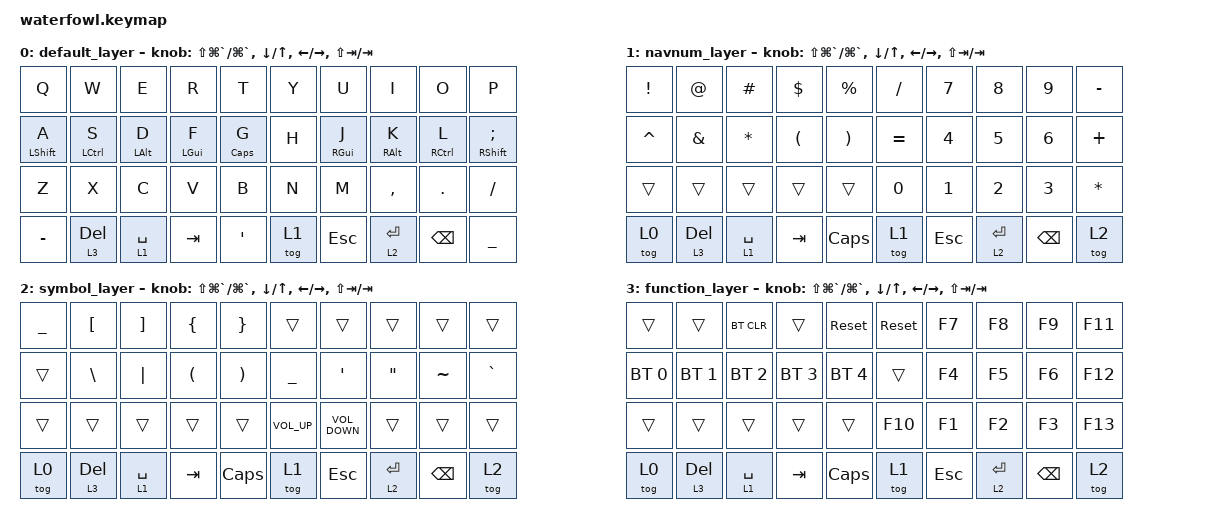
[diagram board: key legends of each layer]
/*
 * Copyright (c) 2022 The ZMK Contributors
 *
 * SPDX-License-Identifier: MIT
 */

#include <behaviors.dtsi>
#include <dt-bindings/zmk/bt.h>
#include <dt-bindings/zmk/keys.h>

/ {
    keymap {
        compatible = "zmk,keymap";

        default_layer {
            /* QWERTY
 *
 * ,----------------------------------.                      ,----------------------------------.
 * |   Q  |   W  |   E  |   R  |   T  |                      |   Y  |   U  |   I  |   O  |   P  |
 * |------+------+------+------+------|                      |------+------+------+------+------|
 * |   A  |   S  |   D  |   F  |   G  |                      |   H  |   J  |   K  |   L  |   ;  |
 * |------+------+------+------+------|  ,-----.    ,-----.  |------+------+------+------+------|
 * |   Z  |   X  |   C  |   V  |   B  |  |  2  |    |  3  |  |   N  |   M  |   ,  |   .  |   /  |
 * `----------------------------------'  `-----'    `-----'  `----------------------------------'
 *          ,-----.   ,--------------------.            ,--------------------.   ,-----.
 *          |  1  |   | DEL | SPACE | TAB  |            |  ESC  | ENTER | BS |   |  4  |
 *          `-----'   `--------------------'            `--------------------'   `-----'
 */

            bindings = <
&kp Q             &kp W               &kp E           &kp R           &kp T             &kp Y   &kp U            &kp I            &kp O                &kp P
&mt LEFT_SHIFT A  &mt LEFT_CONTROL S  &mt LEFT_ALT D  &mt LEFT_GUI F  &mt CAPS G        &kp H   &mt RIGHT_GUI J  &mt RIGHT_ALT K  &mt RIGHT_CONTROL L  &mt RIGHT_SHIFT SEMI
&kp Z             &kp X               &kp C           &kp V           &kp B             &kp N   &kp M            &kp COMMA        &kp DOT              &kp FSLH
&kp MINUS         &lt 3 DEL           &lt 1 SPACE     &kp TAB         &kp APOSTROPHE    &tog 1  &kp ESC          &lt 2 ENTER      &kp BACKSPACE        &kp UNDERSCORE
            >;

            sensor-bindings = <
                &inc_dec_kp LS(LG(GRAVE)) LG(GRAVE)
                &inc_dec_kp DOWN UP
                &inc_dec_kp LEFT RIGHT
                &inc_dec_kp LS(TAB) TAB
            >;
        };

        navnum_layer {
            /* NAVNUM
 *
 * ,----------------------------------.                      ,----------------------------------.
 * |      | PgUp |  UP  | PgDn |      |                      |   /  |   7  |   8  |   9  |   -  |
 * |------+------+------+------+------|                      |------+------+------+------+------|
 * | Home | Left | Down | Right| End  |                      |   =  |   4  |   5  |   6  |   +  |
 * |------+------+------+------+------|  ,-----.    ,-----.  |------+------+------+------+------|
 * |      |      |  INS |      |      |  |  2  |    |  3  |  |   0  |   1  |   2  |   3  |   *  |
 * `----------------------------------'  `-----'    `-----'  `----------------------------------'
 *          ,-----.   ,--------------------.            ,--------------------.   ,-----.
 *          |  1  |   | DEL | SPACE | MO(3)|            |  ESC  | ENTER | BS |   |  4  |
 *          `-----'   `--------------------'            `--------------------'   `-----'
 */

            bindings = <
&kp EXCLAMATION  &kp AT         &kp HASH     &kp DOLLAR            &kp PERCENT              &kp FSLH   &kp N7   &kp N8       &kp N9         &kp MINUS
&kp CARET        &kp AMPERSAND  &kp ASTRK    &kp LEFT_PARENTHESIS  &kp RIGHT_PARENTHESIS    &kp EQUAL  &kp N4   &kp N5       &kp N6         &kp PLUS
&trans           &trans         &trans       &trans                &trans                   &kp N0     &kp N1   &kp N2       &kp N3         &kp ASTERISK
&tog 0           &lt 3 DEL      &lt 1 SPACE  &kp TAB               &kp CAPS                 &tog 1     &kp ESC  &lt 2 ENTER  &kp BACKSPACE  &tog 2
            >;

            sensor-bindings = <
                &inc_dec_kp LS(LG(GRAVE)) LG(GRAVE)
                &inc_dec_kp DOWN UP
                &inc_dec_kp LEFT RIGHT
                &inc_dec_kp LS(TAB) TAB
            >;
        };

        symbol_layer {
            /* SYM
 *
 * ,----------------------------------.                      ,----------------------------------.
 * |   %  |   @  |   [  |   ]  |   \  |                      |      |      |   ^  |      |      |
 * |------+------+------+------+------|                      |------+------+------+------+------|
 * |   #  |   !  |   (  |   )  |   |  |                      |   _  |   '  |   "  |   ~  |   `  |
 * |------+------+------+------+------|  ,-----.    ,-----.  |------+------+------+------+------|
 * |   $  |      |   {  |   }  |   &  |  |  2  |    |  3  |  |      |      |      |      |      |
 * `----------------------------------'  `-----'    `-----'  `----------------------------------'
 *          ,-----.   ,--------------------.            ,--------------------.   ,-----.
 *          |  1  |   | DEL | SPACE | TAB  |            |  ESC  | ENTER | BS |   |  4  |
 *          `-----'   `--------------------'            `--------------------'   `-----'
 */

            bindings = <
&kp UNDER  &kp LEFT_BRACKET  &kp RIGHT_BRACKET  &kp LEFT_BRACE        &kp RIGHT_BRACE          &trans           &trans             &trans             &trans         &trans
&trans     &kp BACKSLASH     &kp PIPE           &kp LEFT_PARENTHESIS  &kp RIGHT_PARENTHESIS    &kp UNDER        &kp APOS           &kp DOUBLE_QUOTES  &kp TILDE      &kp GRAVE
&trans     &trans            &trans             &trans                &trans                   &kp K_VOLUME_UP  &kp K_VOLUME_DOWN  &trans             &trans         &trans
&tog 0     &lt 3 DEL         &lt 1 SPACE        &kp TAB               &kp CAPS                 &tog 1           &kp ESC            &lt 2 ENTER        &kp BACKSPACE  &tog 2
            >;

            sensor-bindings = <
                &inc_dec_kp LS(LG(GRAVE)) LG(GRAVE)
                &inc_dec_kp DOWN UP
                &inc_dec_kp LEFT RIGHT
                &inc_dec_kp LS(TAB) TAB
            >;
        };

        function_layer {
            /* FUNC
 *
 * ,----------------------------------.                      ,----------------------------------.
 * |      |      | BTCLR|      | Reset|                      | Reset|  F7  |  F8  |  F9  |  F11 |
 * |------+------+------+------+------|                      |------+------+------+------+------|
 * |  BT0 |  BT1 |  BT2 |  BT3 |  BT4 |                      |      |  F4  |  F5  |  F6  |  F12 |
 * |------+------+------+------+------|  ,-----.    ,-----.  |------+------+------+------+------|
 * |      |      |      |      |      |  |  2  |    |  3  |  |  F10 |  F1  |  F2  |  F3  |  F13 |
 * `----------------------------------'  `-----'    `-----'  `----------------------------------'
 *          ,-----.   ,--------------------.            ,--------------------.   ,-----.
 *          |  1  |   | DEL | SPACE | TAB  |            |  ESC  | ENTER | BS |   |  4  |
 *          `-----'   `--------------------'            `--------------------'   `-----'
 */

            bindings = <
&trans        &trans        &bt BT_CLR    &trans        &sys_reset      &sys_reset  &kp F7   &kp F8       &kp F9         &kp F11
&bt BT_SEL 0  &bt BT_SEL 1  &bt BT_SEL 2  &bt BT_SEL 3  &bt BT_SEL 4    &trans      &kp F4   &kp F5       &kp F6         &kp F12
&trans        &trans        &trans        &trans        &trans          &kp F10     &kp F1   &kp F2       &kp F3         &kp F13
&tog 0        &lt 3 DEL     &lt 1 SPACE   &kp TAB       &kp CAPS        &tog 1      &kp ESC  &lt 2 ENTER  &kp BACKSPACE  &tog 2
            >;

            sensor-bindings = <
                &inc_dec_kp LS(LG(GRAVE)) LG(GRAVE)
                &inc_dec_kp DOWN UP
                &inc_dec_kp LEFT RIGHT
                &inc_dec_kp LS(TAB) TAB
            >;
        };
    };
};
